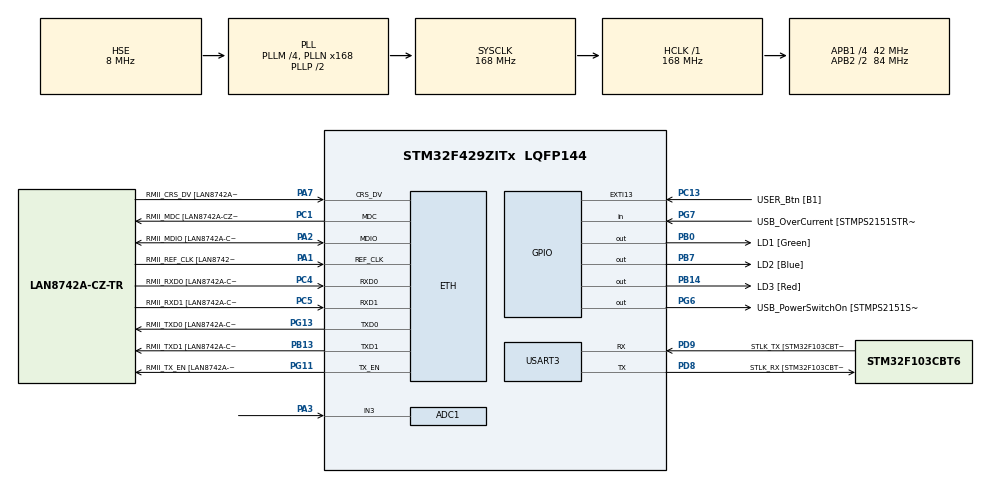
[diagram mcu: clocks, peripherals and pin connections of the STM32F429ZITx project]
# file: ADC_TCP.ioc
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ADC1.Channel-0\#ChannelRegularConversion=ADC_CHANNEL_3
ADC1.NbrOfConversionFlag=1
ADC1.Rank-0\#ChannelRegularConversion=1
ADC1.SamplingTime-0\#ChannelRegularConversion=ADC_SAMPLETIME_3CYCLES
ADC1.master=1
ETH.MediaInterface=HAL_ETH_RMII_MODE
ETH.PHY_Name=LAN8742A_PHY_ADDRESS
ETH.PHY_Value=0
ETH.PhyAddress=0
LWIP.BSP.number=1
LWIP.IP_ADDRESS=192.168.000.020
LWIP.LWIP_DHCP=0
LWIP.NETMASK_ADDRESS=255.255.255.000
LWIP.Version=v2.1.2_Cube
LWIP0.BSP.STBoard=false
LWIP0.BSP.api=BSP_COMPONENT_DRIVER
LWIP0.BSP.component=LAN8742
LWIP0.BSP.instance=LAN8742
LWIP0.BSP.name=Driver_PHY
LWIP0.BSP.semaphore=S_LAN8742
LWIP0.BSP.solution=LAN8742
Mcu.Family=STM32F4
Mcu.Name=STM32F429ZITx
Mcu.Package=LQFP144
NVIC.PriorityGroup=NVIC_PRIORITYGROUP_4
PA1.GPIO_Label=RMII_REF_CLK [LAN8742A-CZ-TR_REFCLK0]
PA1.Mode=RMII
PA1.Signal=ETH_REF_CLK
PA13.GPIO_Label=TMS
PA13.Mode=Serial_Wire
PA13.Signal=SYS_JTMS-SWDIO
PA14.GPIO_Label=TCK
PA14.Mode=Serial_Wire
PA14.Signal=SYS_JTCK-SWCLK
PA2.GPIO_Label=RMII_MDIO [LAN8742A-CZ-TR_MDIO]
PA2.Mode=RMII
PA2.Signal=ETH_MDIO
PA3.Signal=ADCx_IN3
PA7.GPIO_Label=RMII_CRS_DV [LAN8742A-CZ-TR_CRS_DV]
PA7.Mode=RMII
PA7.Signal=ETH_CRS_DV
PB0.GPIO_Label=LD1 [Green]
PB0.Signal=GPIO_Output
PB13.GPIO_Label=RMII_TXD1 [LAN8742A-CZ-TR_TXD1]
PB13.Mode=RMII
PB13.Signal=ETH_TXD1
PB14.GPIO_Label=LD3 [Red]
PB14.Signal=GPIO_Output
PB7.GPIO_Label=LD2 [Blue]
PB7.Signal=GPIO_Output
PC1.GPIO_Label=RMII_MDC [LAN8742A-CZ-TR_MDC]
PC1.Mode=RMII
PC1.Signal=ETH_MDC
PC13.GPIO_Label=USER_Btn [B1]
PC13.Signal=GPXTI13
PC14/OSC32_IN.Mode=LSE-External-Oscillator
PC14/OSC32_IN.Signal=RCC_OSC32_IN
PC15/OSC32_OUT.Mode=LSE-External-Oscillator
PC15/OSC32_OUT.Signal=RCC_OSC32_OUT
PC4.GPIO_Label=RMII_RXD0 [LAN8742A-CZ-TR_RXD0]
PC4.Mode=RMII
PC4.Signal=ETH_RXD0
PC5.GPIO_Label=RMII_RXD1 [LAN8742A-CZ-TR_RXD1]
PC5.Mode=RMII
PC5.Signal=ETH_RXD1
PD8.GPIO_Label=STLK_RX [STM32F103CBT6_PA3]
PD8.Mode=Asynchronous
PD8.Signal=USART3_TX
PD9.GPIO_Label=STLK_TX [STM32F103CBT6_PA2]
PD9.Mode=Asynchronous
PD9.Signal=USART3_RX
PG11.GPIO_Label=RMII_TX_EN [LAN8742A-CZ-TR_TXEN]
PG11.Mode=RMII
PG11.Signal=ETH_TX_EN
PG13.GPIO_Label=RMII_TXD0 [LAN8742A-CZ-TR_TXD0]
PG13.Mode=RMII
PG13.Signal=ETH_TXD0
PG6.GPIO_Label=USB_PowerSwitchOn [STMPS2151STR_EN]
PG6.Signal=GPIO_Output
PG7.GPIO_Label=USB_OverCurrent [STMPS2151STR_FAULT]
PG7.Signal=GPIO_Input
PH0/OSC_IN.GPIO_Label=MCO [STM32F103CBT6_PA8]
PH0/OSC_IN.Mode=HSE-External-Clock-Source
PH0/OSC_IN.Signal=RCC_OSC_IN
PH1/OSC_OUT.Mode=HSE-External-Clock-Source
PH1/OSC_OUT.Signal=RCC_OSC_OUT
ProjectManager.HeapSize=0x200
ProjectManager.StackSize=0x400
ProjectManager.TargetToolchain=STM32CubeIDE
RCC.48MHZClocksFreq_Value=48000000
RCC.AHBFreq_Value=168000000
RCC.APB1CLKDivider=RCC_HCLK_DIV4
RCC.APB1Freq_Value=42000000
RCC.APB1TimFreq_Value=84000000
RCC.APB2CLKDivider=RCC_HCLK_DIV2
RCC.APB2Freq_Value=84000000
RCC.APB2TimCLKDivider=2
RCC.APB2TimFreq_Value=168000000
RCC.CortexFreq_Value=168000000
RCC.HCLKFreq_Value=168000000
RCC.HSE_VALUE=8000000
RCC.HSI_VALUE=16000000
RCC.PLLM=4
RCC.PLLMUL=RCC_PLL_MUL9
RCC.PLLN=168
RCC.PLLQ=7
RCC.PLLSourceVirtual=RCC_PLLSOURCE_HSE
RCC.PRESCALERUSB=RCC_USBCLKSOURCE_PLL_DIV1_5
RCC.SYSCLKFreq_VALUE=168000000
RCC.SYSCLKSource=RCC_SYSCLKSOURCE_PLLCLK
RCC.SYSCLKSourceVirtual=RCC_SYSCLKSOURCE_PLLCLK
RCC.USBFreq_Value=48000000
RCC.VCOOutputFreq_Value=336000000
SH.ADCx_IN3.0=ADC1_IN3,IN3
USART3.VirtualMode=VM_ASYNC
VP_LWIP_VS_Enabled.Mode=Enabled
board=NUCLEO-F429ZI

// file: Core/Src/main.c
/* USER CODE BEGIN Header */
/**
  ******************************************************************************
  * @file           : main.c
  * @brief          : Main program body
  ******************************************************************************
  * @attention
  *
  * Copyright (c) 2025 STMicroelectronics.
  * All rights reserved.
  *
  * This software is licensed under terms that can be found in the LICENSE file
  * in the root directory of this software component.
  * If no LICENSE file comes with this software, it is provided AS-IS.
  *
  ******************************************************************************
  */
/* USER CODE END Header */
#include "main.h"
#include "lwip.h"
#include "lwip/tcp.h"

#include "string.h"

/* USER CODE BEGIN PD */
uint16_t adc;

char adcbuf[50];

extern struct netif gnetif;
static struct tcp_pcb *client_pcb;

/* USER CODE END PD */

ADC_HandleTypeDef hadc1;

UART_HandleTypeDef huart3;

void SystemClock_Config(void);
static void MX_GPIO_Init(void);
static void MX_USART3_UART_Init(void);
static void MX_ADC1_Init(void);

/* USER CODE BEGIN 0 */
err_t send_To_tcp(void *arg, struct tcp_pcb *tpcb, err_t err){
   if(err == ERR_OK){
	   const char *buf = "hello stm32";

	   tcp_write(tpcb,buf,strlen(buf), TCP_WRITE_FLAG_COPY);
	   tcp_output(tpcb);
   }
   return ERR_OK;
}

void send_tcp_message(void){
	ip_addr_t server_ip;

	IP4_ADDR(&server_ip,192,168,0,10);

	client_pcb = tcp_new();

	if(client_pcb != NULL){
		tcp_connect(client_pcb, &server_ip,5000, send_To_tcp);
	}

}

void adc_tcp(void){
	if(client_pcb != NULL){
		sprintf(adcbuf,"%d\r\n",adc);
		  tcp_write(client_pcb, adcbuf, strlen(adcbuf), TCP_WRITE_FLAG_COPY);
		  tcp_output(client_pcb);

	}
}
/* USER CODE END 0 */

int main(void)
{

  /* MCU Configuration--------------------------------------------------------*/

  /* Reset of all peripherals, Initializes the Flash interface and the Systick. */
  HAL_Init();

  /* Configure the system clock */
  SystemClock_Config();

  /* Initialize all configured peripherals */
  MX_GPIO_Init();
  MX_USART3_UART_Init();
  MX_ADC1_Init();
  HAL_Delay(1000);
  MX_LWIP_Init();
  /* USER CODE BEGIN 2 */
	 send_tcp_message();
  /* USER CODE END 2 */

  /* Infinite loop */
  while (1)
  {
	  HAL_ADC_Start(&hadc1);
	  adc = HAL_ADC_GetValue(&hadc1);
	  adc_tcp();
	  HAL_Delay(500);
ethernetif_input(&gnetif);

sys_check_timeouts();
  }
}

void SystemClock_Config(void)
{
  RCC_OscInitTypeDef RCC_OscInitStruct = {0};
  RCC_ClkInitTypeDef RCC_ClkInitStruct = {0};

  /** Configure the main internal regulator output voltage
  */
  __HAL_RCC_PWR_CLK_ENABLE();
  __HAL_PWR_VOLTAGESCALING_CONFIG(PWR_REGULATOR_VOLTAGE_SCALE1);

  /** Initializes the RCC Oscillators according to the specified parameters
  * in the RCC_OscInitTypeDef structure.
  */
  RCC_OscInitStruct.OscillatorType = RCC_OSCILLATORTYPE_HSE;
  RCC_OscInitStruct.HSEState = RCC_HSE_BYPASS;
  RCC_OscInitStruct.PLL.PLLState = RCC_PLL_ON;
  RCC_OscInitStruct.PLL.PLLSource = RCC_PLLSOURCE_HSE;
  RCC_OscInitStruct.PLL.PLLM = 4;
  RCC_OscInitStruct.PLL.PLLN = 168;
  RCC_OscInitStruct.PLL.PLLP = RCC_PLLP_DIV2;
  RCC_OscInitStruct.PLL.PLLQ = 7;
  if (HAL_RCC_OscConfig(&RCC_OscInitStruct) != HAL_OK)
  {
    Error_Handler();
  }

  /** Initializes the CPU, AHB and APB buses clocks
  */
  RCC_ClkInitStruct.ClockType = RCC_CLOCKTYPE_HCLK|RCC_CLOCKTYPE_SYSCLK
                              |RCC_CLOCKTYPE_PCLK1|RCC_CLOCKTYPE_PCLK2;
  RCC_ClkInitStruct.SYSCLKSource = RCC_SYSCLKSOURCE_PLLCLK;
  RCC_ClkInitStruct.AHBCLKDivider = RCC_SYSCLK_DIV1;
  RCC_ClkInitStruct.APB1CLKDivider = RCC_HCLK_DIV4;
  RCC_ClkInitStruct.APB2CLKDivider = RCC_HCLK_DIV2;

  if (HAL_RCC_ClockConfig(&RCC_ClkInitStruct, FLASH_LATENCY_5) != HAL_OK)
  {
    Error_Handler();
  }
}

static void MX_ADC1_Init(void)
{

  ADC_ChannelConfTypeDef sConfig = {0};

  /** Configure the global features of the ADC (Clock, Resolution, Data Alignment and number of conversion)
  */
  hadc1.Instance = ADC1;
  hadc1.Init.ClockPrescaler = ADC_CLOCK_SYNC_PCLK_DIV4;
  hadc1.Init.Resolution = ADC_RESOLUTION_12B;
  hadc1.Init.ScanConvMode = DISABLE;
  hadc1.Init.ContinuousConvMode = DISABLE;
  hadc1.Init.DiscontinuousConvMode = DISABLE;
  hadc1.Init.ExternalTrigConvEdge = ADC_EXTERNALTRIGCONVEDGE_NONE;
  hadc1.Init.ExternalTrigConv = ADC_SOFTWARE_START;
  hadc1.Init.DataAlign = ADC_DATAALIGN_RIGHT;
  hadc1.Init.NbrOfConversion = 1;
  hadc1.Init.DMAContinuousRequests = DISABLE;
  hadc1.Init.EOCSelection = ADC_EOC_SINGLE_CONV;
  if (HAL_ADC_Init(&hadc1) != HAL_OK)
  {
    Error_Handler();
  }

  /** Configure for the selected ADC regular channel its corresponding rank in the sequencer and its sample time.
  */
  sConfig.Channel = ADC_CHANNEL_3;
  sConfig.Rank = 1;
  sConfig.SamplingTime = ADC_SAMPLETIME_3CYCLES;
  if (HAL_ADC_ConfigChannel(&hadc1, &sConfig) != HAL_OK)
  {
    Error_Handler();
  }

}

static void MX_USART3_UART_Init(void)
{

  huart3.Instance = USART3;
  huart3.Init.BaudRate = 115200;
  huart3.Init.WordLength = UART_WORDLENGTH_8B;
  huart3.Init.StopBits = UART_STOPBITS_1;
  huart3.Init.Parity = UART_PARITY_NONE;
  huart3.Init.Mode = UART_MODE_TX_RX;
  huart3.Init.HwFlowCtl = UART_HWCONTROL_NONE;
  huart3.Init.OverSampling = UART_OVERSAMPLING_16;
  if (HAL_UART_Init(&huart3) != HAL_OK)
  {
    Error_Handler();
  }

}

static void MX_GPIO_Init(void)
{
  GPIO_InitTypeDef GPIO_InitStruct = {0};

  /* GPIO Ports Clock Enable */
  __HAL_RCC_GPIOC_CLK_ENABLE();
  __HAL_RCC_GPIOH_CLK_ENABLE();
  __HAL_RCC_GPIOA_CLK_ENABLE();
  __HAL_RCC_GPIOB_CLK_ENABLE();
  __HAL_RCC_GPIOD_CLK_ENABLE();
  __HAL_RCC_GPIOG_CLK_ENABLE();

  /*Configure GPIO pin Output Level */
  HAL_GPIO_WritePin(GPIOB, LD1_Pin|LD3_Pin|LD2_Pin, GPIO_PIN_RESET);

  /*Configure GPIO pin Output Level */
  HAL_GPIO_WritePin(USB_PowerSwitchOn_GPIO_Port, USB_PowerSwitchOn_Pin, GPIO_PIN_RESET);

  /*Configure GPIO pin : USER_Btn_Pin */
  GPIO_InitStruct.Pin = USER_Btn_Pin;
  GPIO_InitStruct.Mode = GPIO_MODE_IT_RISING;
  GPIO_InitStruct.Pull = GPIO_NOPULL;
  HAL_GPIO_Init(USER_Btn_GPIO_Port, &GPIO_InitStruct);

  /*Configure GPIO pins : LD1_Pin LD3_Pin LD2_Pin */
  GPIO_InitStruct.Pin = LD1_Pin|LD3_Pin|LD2_Pin;
  GPIO_InitStruct.Mode = GPIO_MODE_OUTPUT_PP;
  GPIO_InitStruct.Pull = GPIO_NOPULL;
  GPIO_InitStruct.Speed = GPIO_SPEED_FREQ_LOW;
  HAL_GPIO_Init(GPIOB, &GPIO_InitStruct);

  /*Configure GPIO pin : USB_PowerSwitchOn_Pin */
  GPIO_InitStruct.Pin = USB_PowerSwitchOn_Pin;
  GPIO_InitStruct.Mode = GPIO_MODE_OUTPUT_PP;
  GPIO_InitStruct.Pull = GPIO_NOPULL;
  GPIO_InitStruct.Speed = GPIO_SPEED_FREQ_LOW;
  HAL_GPIO_Init(USB_PowerSwitchOn_GPIO_Port, &GPIO_InitStruct);

  /*Configure GPIO pin : USB_OverCurrent_Pin */
  GPIO_InitStruct.Pin = USB_OverCurrent_Pin;
  GPIO_InitStruct.Mode = GPIO_MODE_INPUT;
  GPIO_InitStruct.Pull = GPIO_NOPULL;
  HAL_GPIO_Init(USB_OverCurrent_GPIO_Port, &GPIO_InitStruct);

}

void Error_Handler(void)
{
  __disable_irq();
  while (1)
  {
  }
}
